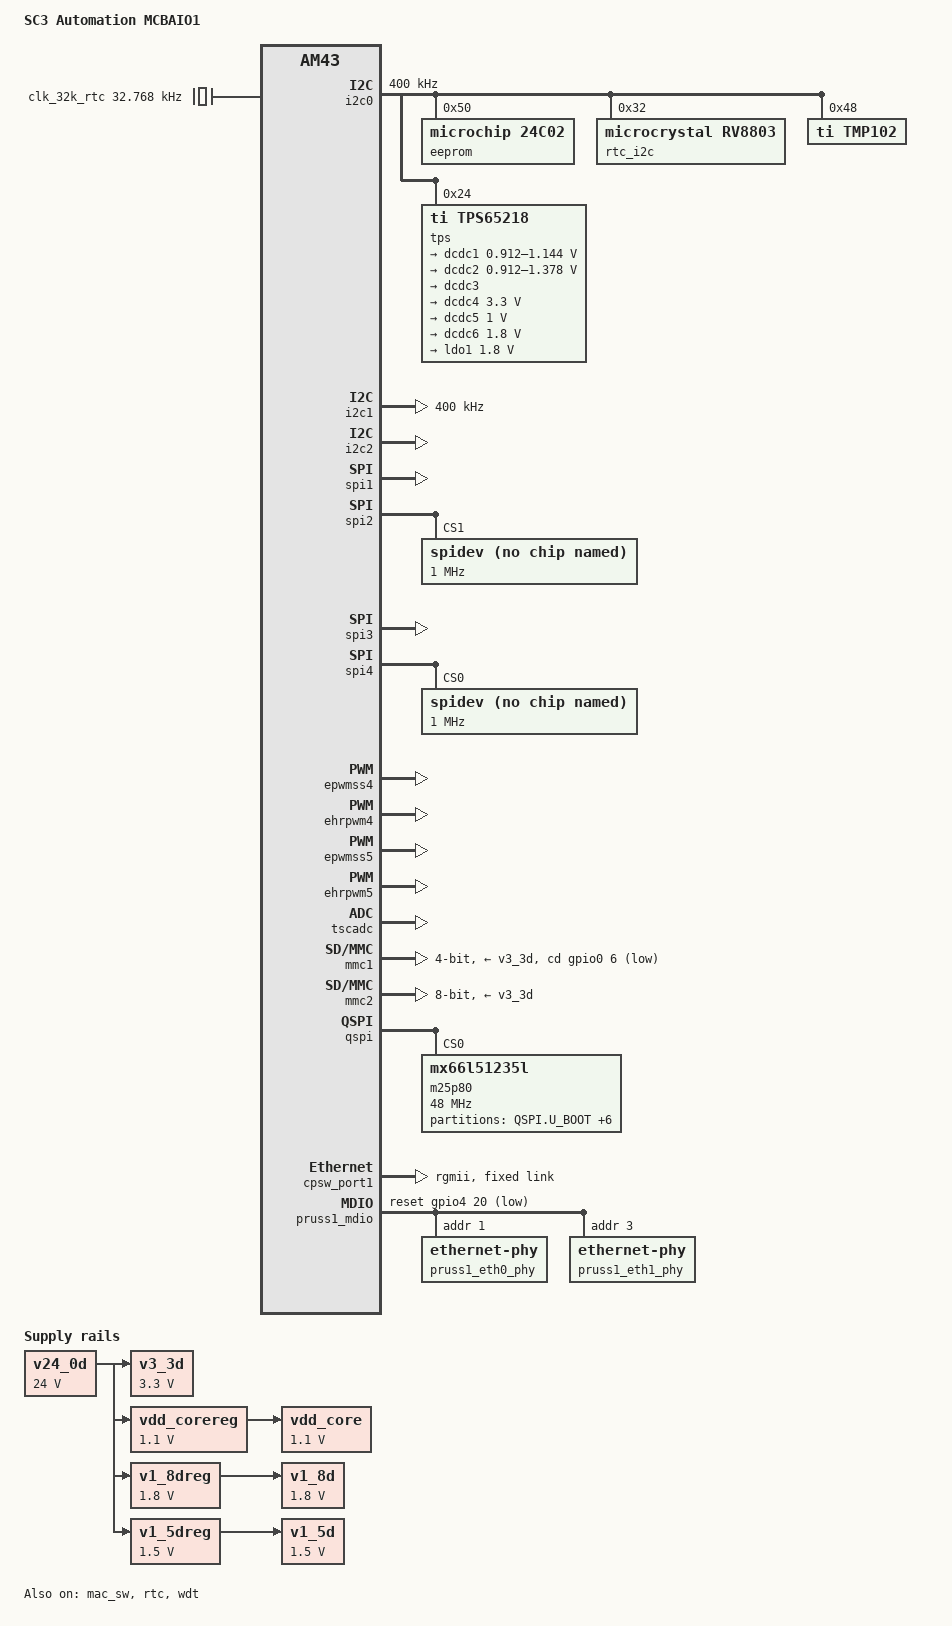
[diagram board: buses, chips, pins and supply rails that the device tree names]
// SPDX-License-Identifier: GPL-2.0-only
/*
 * Copyright (C) 2014 Texas Instruments Incorporated - https://www.ti.com/
 */

/dts-v1/;

#include "am4372.dtsi"
#include <dt-bindings/pinctrl/am43xx.h>
#include <dt-bindings/pwm/pwm.h>
#include <dt-bindings/gpio/gpio.h>
#include <dt-bindings/input/input.h>

/ {
	model = "SC3 Automation MCBAIO1";
	compatible = "ti,am437x-idk-evm","ti,am4372","ti,am43";

	chosen {
		stdout-path = &uart0;
	};

	aliases {
		ethernet2 = &pruss1_emac0;
		ethernet3 = &pruss1_emac1;
		rtc1 = &rtc_i2c;
	};

	v24_0d: fixed-regulator-v24_0d {
		compatible = "regulator-fixed";
		regulator-name = "V24_0D";
		regulator-min-microvolt = <24000000>;
		regulator-max-microvolt = <24000000>;
		regulator-always-on;
		regulator-boot-on;
	};

	v3_3d: fixed-regulator-v3_3d {
		compatible = "regulator-fixed";
		regulator-name = "V3_3D";
		regulator-min-microvolt = <3300000>;
		regulator-max-microvolt = <3300000>;
		regulator-always-on;
		regulator-boot-on;
		vin-supply = <&v24_0d>;
	};

	vdd_corereg: fixed-regulator-vdd_corereg {
		compatible = "regulator-fixed";
		regulator-name = "VDD_COREREG";
		regulator-min-microvolt = <1100000>;
		regulator-max-microvolt = <1100000>;
		regulator-always-on;
		regulator-boot-on;
		vin-supply = <&v24_0d>;
	};

	vdd_core: fixed-regulator-vdd_core {
		compatible = "regulator-fixed";
		regulator-name = "VDD_CORE";
		regulator-min-microvolt = <1100000>;
		regulator-max-microvolt = <1100000>;
		regulator-always-on;
		regulator-boot-on;
		vin-supply = <&vdd_corereg>;
	};

	v1_8dreg: fixed-regulator-v1_8dreg{
		compatible = "regulator-fixed";
		regulator-name = "V1_8DREG";
		regulator-min-microvolt = <1800000>;
		regulator-max-microvolt = <1800000>;
		regulator-always-on;
		regulator-boot-on;
		vin-supply = <&v24_0d>;
	};

	v1_8d: fixed-regulator-v1_8d{
		compatible = "regulator-fixed";
		regulator-name = "V1_8D";
		regulator-min-microvolt = <1800000>;
		regulator-max-microvolt = <1800000>;
		regulator-always-on;
		regulator-boot-on;
		vin-supply = <&v1_8dreg>;
	};

	v1_5dreg: fixed-regulator-v1_5dreg{
		compatible = "regulator-fixed";
		regulator-name = "V1_5DREG";
		regulator-min-microvolt = <1500000>;
		regulator-max-microvolt = <1500000>;
		regulator-always-on;
		regulator-boot-on;
		vin-supply = <&v24_0d>;
	};

	v1_5d: fixed-regulator-v1_5d{
		compatible = "regulator-fixed";
		regulator-name = "V1_5D";
		regulator-min-microvolt = <1500000>;
		regulator-max-microvolt = <1500000>;
		regulator-always-on;
		regulator-boot-on;
		vin-supply = <&v1_5dreg>;
	};

	/* fixed 32k external oscillator clock */
	clk_32k_rtc: clk_32k_rtc {
		#clock-cells = <0>;
		compatible = "fixed-clock";
		clock-frequency = <32768>;
	};

	/* Dual-MAC Ethernet application node on PRU-ICSS1 */
	pruss1-eth {
		compatible = "ti,am4376-prueth";
		ti,prus = <&pru1_0>, <&pru1_1>;
		sram = <&ocmcram>;
		interrupt-parent = <&pruss1_intc>;
		mii-rt = <&pruss1_mii_rt>;
		iep = <&pruss1_iep>;

		pinctrl-0 = <&pruss1_eth_default>;
		pinctrl-names = "default";
		interrupts = <20 2 2>, <21 3 3>;
		interrupt-names = "rx_lre_hp", "rx_lre_lp";

		pruss1_emac0: ethernet-mii0 {
			phy-handle = <&pruss1_eth0_phy>;
			phy-mode = "mii";
			interrupts = <20 2 2>;
			interrupt-names = "rx";
			ti,no-half-duplex;
			/* Filled in by bootloader */
			local-mac-address = [00 00 00 00 00 00];
		};

		pruss1_emac1: ethernet-mii1 {
			phy-handle = <&pruss1_eth1_phy>;
			phy-mode = "mii";
			interrupts = <21 3 3>;
			interrupt-names = "rx";
			ti,no-half-duplex;
			/* Filled in by bootloader */
			local-mac-address = [00 00 00 00 00 00];
		};
	};
};

&am43xx_pinmux {
	i2c0_pins_default: i2c0_pins_default {
		pinctrl-single,pins = <
			AM4372_IOPAD(0x988, PIN_INPUT_PULLUP | SLEWCTRL_FAST | MUX_MODE0) /* (Y22) i2c0_sda.i2c0_sda */
			AM4372_IOPAD(0x98c, PIN_INPUT_PULLUP | SLEWCTRL_FAST | MUX_MODE0) /* (AB24) i2c0_scl.i2c0_scl */
		>;
	};

	i2c1_pins_default: i2c1_pins_default {
		pinctrl-single,pins = <
			AM4372_IOPAD(0xa0c, PIN_INPUT_PULLUP | MUX_MODE3) /* (AB18) cam0_data1.I2C1_SCL */
			AM4372_IOPAD(0xa08, PIN_INPUT_PULLUP | MUX_MODE3) /* (AE18) cam0_data0.I2C1_SDA */
		>;
	};

//	i2c2_pins_default: i2c2_pins_default {
//		pinctrl-single,pins = <
//			AM4372_IOPAD(0x9e8, PIN_INPUT_PULLUP | SLEWCTRL_FAST | MUX_MODE3) /* cam1_data1.i2c2_scl */
//			AM4372_IOPAD(0x9ec, PIN_INPUT_PULLUP | SLEWCTRL_FAST | MUX_MODE3) /* cam1_data0.i2c2_sda */
//		>;
//	};
//
//	i2c2_pins_sleep: i2c2_pins_sleep {
//		pinctrl-single,pins = <
//			AM4372_IOPAD(0x9e8, PIN_INPUT_PULLUP | MUX_MODE7)
//			AM4372_IOPAD(0x9ec, PIN_INPUT_PULLUP | MUX_MODE7)
//		>;
//	};

	mmc0_pins_default: pinmux_mmc0_pins_default {
		pinctrl-single,pins = <
			AM4372_IOPAD(0x900, PIN_INPUT | MUX_MODE0) /* (D1) mmc0_clk.mmc0_clk */
			AM4372_IOPAD(0x904, PIN_INPUT_PULLUP | MUX_MODE0) /* (D2) mmc0_cmd.mmc0_cmd */
			AM4372_IOPAD(0x8fc, PIN_INPUT_PULLUP | MUX_MODE0) /* (C1) mmc0_dat0.mmc0_dat0 */
			AM4372_IOPAD(0x8f8, PIN_INPUT_PULLUP | MUX_MODE0) /* (C2) mmc0_dat1.mmc0_dat1 */
			AM4372_IOPAD(0x8f4, PIN_INPUT_PULLUP | MUX_MODE0) /* (B2) mmc0_dat2.mmc0_dat2 */
			AM4372_IOPAD(0x8f0, PIN_INPUT_PULLUP | MUX_MODE0) /* (B1) mmc0_dat3.mmc0_dat3 */
			AM4372_IOPAD(0x960, PIN_INPUT_PULLUP | MUX_MODE5) /* (R25) spi0_cs1.mmc0_sdcd */
		>;
	};

	mmc0_pins_sleep: pinmux_mmc0_pins_sleep {
		pinctrl-single,pins = <
			AM4372_IOPAD(0x900, PIN_INPUT_PULLDOWN | MUX_MODE7) /* (D1) mmc0_clk.mmc0_clk */
			AM4372_IOPAD(0x904, PIN_INPUT_PULLDOWN | MUX_MODE7) /* (D2) mmc0_cmd.mmc0_cmd */
			AM4372_IOPAD(0x8fc, PIN_INPUT_PULLDOWN | MUX_MODE7) /* (C1) mmc0_dat0.mmc0_dat0 */
			AM4372_IOPAD(0x8f8, PIN_INPUT_PULLDOWN | MUX_MODE7) /* (C2) mmc0_dat1.mmc0_dat1 */
			AM4372_IOPAD(0x8f4, PIN_INPUT_PULLDOWN | MUX_MODE7) /* (B2) mmc0_dat2.mmc0_dat2 */
			AM4372_IOPAD(0x8f0, PIN_INPUT_PULLDOWN | MUX_MODE7) /* (B1) mmc0_dat3.mmc0_dat3 */
			AM4372_IOPAD(0x960, PIN_INPUT_PULLDOWN | MUX_MODE7) /* (R25) spi0_cs1.mmc0_sdcd */
		>;
	};

	mmc1_pins_default: mmc1_pins_default {
		pinctrl-single,pins = <
			AM4372_IOPAD(0x880, PIN_INPUT | MUX_MODE2) /* (B9) gpmc_csn1.mmc1_clk */
			AM4372_IOPAD(0x884, PIN_INPUT_PULLUP | MUX_MODE2) /* (F10) gpmc_csn2.mmc1_cmd */
			AM4372_IOPAD(0x820, PIN_INPUT_PULLUP | MUX_MODE2) /* (B10) gpmc_ad8.mmc1_dat0 */
			AM4372_IOPAD(0x824, PIN_INPUT_PULLUP | MUX_MODE2) /* (A10) gpmc_ad9.mmc1_dat1 */
			AM4372_IOPAD(0x828, PIN_INPUT_PULLUP | MUX_MODE2) /* (F11) gpmc_ad10.mmc1_dat2 */
			AM4372_IOPAD(0x82c, PIN_INPUT_PULLUP | MUX_MODE2) /* (D11) gpmc_ad11.mmc1_dat3 */
			AM4372_IOPAD(0x830, PIN_INPUT_PULLUP | MUX_MODE2) /* (E11) gpmc_ad12.mmc1_dat4 */
			AM4372_IOPAD(0x834, PIN_INPUT_PULLUP | MUX_MODE2) /* (C11) gpmc_ad13.mmc1_dat5 */
			AM4372_IOPAD(0x838, PIN_INPUT_PULLUP | MUX_MODE2) /* (B11) gpmc_ad14.mmc1_dat6 */
			AM4372_IOPAD(0x83c, PIN_INPUT_PULLUP | MUX_MODE2) /* (A11) gpmc_ad15.mmc1_dat7 */
		>;
	};

	mmc1_pins_sleep: mmc1_pins_sleep {
		pinctrl-single,pins = <
			AM4372_IOPAD(0x880, PIN_INPUT_PULLDOWN | MUX_MODE7) /* (B9) gpmc_csn1.mmc1_clk */
			AM4372_IOPAD(0x884, PIN_INPUT_PULLDOWN | MUX_MODE7) /* (F10) gpmc_csn2.mmc1_cmd */
			AM4372_IOPAD(0x820, PIN_INPUT_PULLDOWN | MUX_MODE7) /* (B10) gpmc_ad8.mmc1_dat0 */
			AM4372_IOPAD(0x824, PIN_INPUT_PULLDOWN | MUX_MODE7) /* (A10) gpmc_ad9.mmc1_dat1 */
			AM4372_IOPAD(0x828, PIN_INPUT_PULLDOWN | MUX_MODE7) /* (F11) gpmc_ad10.mmc1_dat2 */
			AM4372_IOPAD(0x82c, PIN_INPUT_PULLDOWN | MUX_MODE7) /* (D11) gpmc_ad11.mmc1_dat3 */
			AM4372_IOPAD(0x830, PIN_INPUT_PULLDOWN | MUX_MODE7) /* (E11) gpmc_ad12.mmc1_dat4 */
			AM4372_IOPAD(0x834, PIN_INPUT_PULLDOWN | MUX_MODE7) /* (C11) gpmc_ad13.mmc1_dat5 */
			AM4372_IOPAD(0x838, PIN_INPUT_PULLDOWN | MUX_MODE7) /* (B11) gpmc_ad14.mmc1_dat6 */
			AM4372_IOPAD(0x83c, PIN_INPUT_PULLDOWN | MUX_MODE7) /* (A11) gpmc_ad15.mmc1_dat7 */
		>;
	};

	spi1_pins_default: spi1_pins_default {
		pinctrl-single,pins = <
			AM4372_IOPAD(0x908, PIN_INPUT | MUX_MODE2)	/* mii1_col.spi1_sclk */
			AM4372_IOPAD(0x910, PIN_INPUT | MUX_MODE2)	/* mii1_rx_er.spi1_d1 */
			AM4372_IOPAD(0x944, PIN_OUTPUT | MUX_MODE2)	/* rmii1_ref_clk.spi1_cs0 */
			AM4372_IOPAD(0x90c, PIN_OUTPUT | MUX_MODE7)	/* mii1_crs.gpio3_1 */
		>;
	};

	spi1_pins_sleep: spi1_pins_sleep {
		pinctrl-single,pins = <
			AM4372_IOPAD(0x908, PIN_INPUT_PULLDOWN | MUX_MODE7)
			AM4372_IOPAD(0x910, PIN_INPUT_PULLDOWN | MUX_MODE7)
			AM4372_IOPAD(0x944, PIN_INPUT_PULLDOWN | MUX_MODE7)
			AM4372_IOPAD(0x90c, PIN_INPUT_PULLDOWN | MUX_MODE7)
		>;
	};

	cpsw_default: cpsw_default {
		pinctrl-single,pins = <
			/* Slave 1 */
			AM4372_IOPAD(0x92c, PIN_OUTPUT | MUX_MODE2)	/* mii1_txclk.rgmii1_tclk */
			AM4372_IOPAD(0x914, PIN_OUTPUT | MUX_MODE2)	/* mii1_txen.rgmii1_tctl */
			AM4372_IOPAD(0x928, PIN_OUTPUT | MUX_MODE2)	/* mii1_txd0.rgmii1_td0 */
			AM4372_IOPAD(0x924, PIN_OUTPUT | MUX_MODE2)	/* mii1_txd1.rgmii1_td1 */
			AM4372_IOPAD(0x920, PIN_OUTPUT | MUX_MODE2)	/* mii1_txd0.rgmii1_td2 */
			AM4372_IOPAD(0x91c, PIN_OUTPUT | MUX_MODE2)	/* mii1_txd1.rgmii1_td3 */
			AM4372_IOPAD(0x930, PIN_INPUT | MUX_MODE2)	/* mii1_rxclk.rmii1_rclk */
			AM4372_IOPAD(0x918, PIN_INPUT | MUX_MODE2)	/* mii1_rxdv.rgmii1_rctl */
			AM4372_IOPAD(0x940, PIN_INPUT | MUX_MODE2)	/* mii1_rxd0.rgmii1_rd0 */
			AM4372_IOPAD(0x93c, PIN_INPUT | MUX_MODE2)	/* mii1_rxd1.rgmii1_rd1 */
			AM4372_IOPAD(0x938, PIN_INPUT | MUX_MODE2)	/* mii1_rxd0.rgmii1_rd2 */
			AM4372_IOPAD(0x934, PIN_INPUT | MUX_MODE2)	/* mii1_rxd1.rgmii1_rd3 */

			/* Slave 2 */
			AM4372_IOPAD(0x858, PIN_OUTPUT | MUX_MODE2)	/* gpmc_a6.rgmii2_tclk */
			AM4372_IOPAD(0x840, PIN_OUTPUT | MUX_MODE2)	/* gpmc_a0.rgmii2_tctl */
			AM4372_IOPAD(0x854, PIN_OUTPUT | MUX_MODE2)	/* gpmc_a5.rgmii2_td0 */
			AM4372_IOPAD(0x850, PIN_OUTPUT | MUX_MODE2)	/* gpmc_a4.rgmii2_td1 */
			AM4372_IOPAD(0x84c, PIN_OUTPUT | MUX_MODE2)	/* gpmc_a3.rgmii2_td2 */
			AM4372_IOPAD(0x848, PIN_OUTPUT | MUX_MODE2)	/* gpmc_a2.rgmii2_td3 */
			AM4372_IOPAD(0x85c, PIN_INPUT | MUX_MODE2)	/* gpmc_a7.rgmii2_rclk */
			AM4372_IOPAD(0x844, PIN_INPUT | MUX_MODE2)	/* gpmc_a1.rgmii2_rtcl */
			AM4372_IOPAD(0x86c, PIN_INPUT | MUX_MODE2)	/* gpmc_a11.rgmii2_rd0 */
			AM4372_IOPAD(0x868, PIN_INPUT | MUX_MODE2)	/* gpmc_a10.rgmii2_rd1 */
			AM4372_IOPAD(0x864, PIN_INPUT | MUX_MODE2)	/* gpmc_a9.rgmii2_rd2 */
			AM4372_IOPAD(0x860, PIN_INPUT | MUX_MODE2)	/* gpmc_a8.rgmii2_rd3 */
		>;
	};

	cpsw_sleep: cpsw_sleep {
		pinctrl-single,pins = <
			/* Slave 1 reset value */
			AM4372_IOPAD(0x92c, PIN_INPUT_PULLDOWN | MUX_MODE7)
			AM4372_IOPAD(0x914, PIN_INPUT_PULLDOWN | MUX_MODE7)
			AM4372_IOPAD(0x928, PIN_INPUT_PULLDOWN | MUX_MODE7)
			AM4372_IOPAD(0x924, PIN_INPUT_PULLDOWN | MUX_MODE7)
			AM4372_IOPAD(0x920, PIN_INPUT_PULLDOWN | MUX_MODE7)
			AM4372_IOPAD(0x91c, PIN_INPUT_PULLDOWN | MUX_MODE7)
			AM4372_IOPAD(0x930, PIN_INPUT_PULLDOWN | MUX_MODE7)
			AM4372_IOPAD(0x918, PIN_INPUT_PULLDOWN | MUX_MODE7)
			AM4372_IOPAD(0x940, PIN_INPUT_PULLDOWN | MUX_MODE7)
			AM4372_IOPAD(0x93c, PIN_INPUT_PULLDOWN | MUX_MODE7)
			AM4372_IOPAD(0x938, PIN_INPUT_PULLDOWN | MUX_MODE7)
			AM4372_IOPAD(0x934, PIN_INPUT_PULLDOWN | MUX_MODE7)

			/* Slave 2 reset value */
			AM4372_IOPAD(0x858, PIN_INPUT_PULLDOWN | MUX_MODE7)
			AM4372_IOPAD(0x840, PIN_INPUT_PULLDOWN | MUX_MODE7)
			AM4372_IOPAD(0x854, PIN_INPUT_PULLDOWN | MUX_MODE7)
			AM4372_IOPAD(0x850, PIN_INPUT_PULLDOWN | MUX_MODE7)
			AM4372_IOPAD(0x84c, PIN_INPUT_PULLDOWN | MUX_MODE7)
			AM4372_IOPAD(0x848, PIN_INPUT_PULLDOWN | MUX_MODE7)
			AM4372_IOPAD(0x85c, PIN_INPUT_PULLDOWN | MUX_MODE7)
			AM4372_IOPAD(0x844, PIN_INPUT_PULLDOWN | MUX_MODE7)
			AM4372_IOPAD(0x86c, PIN_INPUT_PULLDOWN | MUX_MODE7)
			AM4372_IOPAD(0x868, PIN_INPUT_PULLDOWN | MUX_MODE7)
			AM4372_IOPAD(0x864, PIN_INPUT_PULLDOWN | MUX_MODE7)
			AM4372_IOPAD(0x860, PIN_INPUT_PULLDOWN | MUX_MODE7)
		>;
	};

	davinci_mdio_default: davinci_mdio_default {
		pinctrl-single,pins = <
			/* MDIO */
			AM4372_IOPAD(0x948, PIN_INPUT | SLEWCTRL_FAST | MUX_MODE0)	/* mdio_data.mdio_data */
			AM4372_IOPAD(0x94c, PIN_OUTPUT | MUX_MODE0)			/* mdio_clk.mdio_clk */
		>;
	};

	davinci_mdio_sleep: davinci_mdio_sleep {
		pinctrl-single,pins = <
			/* MDIO reset value */
			AM4372_IOPAD(0x948, PIN_INPUT_PULLDOWN | MUX_MODE7)
			AM4372_IOPAD(0x94c, PIN_INPUT_PULLDOWN | MUX_MODE7)
		>;
	};

	spi2_pins_default: spi2_pins_default {
		pinctrl-single,pins = <
			AM4372_IOPAD(0x9b8, PIN_INPUT | MUX_MODE4) /* (AC18) cam0_field.spi2_sclk */
			AM4372_IOPAD(0x9bc, PIN_OUTPUT | MUX_MODE4) /* (AD17) cam0_wen.spi2_d0 */
			AM4372_IOPAD(0x9b4, PIN_INPUT_PULLUP | MUX_MODE4) /* (AD18) cam0_vd.spi2_d1 */
			AM4372_IOPAD(0x9c0, PIN_OUTPUT | MUX_MODE4) /* (AC20) cam0_pclk.spi2_cs0 */
			AM4372_IOPAD(0x9b0, PIN_OUTPUT | MUX_MODE4) /* (AE17) cam0_hd.spi2_cs1 */
			AM4372_IOPAD(0x9c4, PIN_OUTPUT | MUX_MODE4) /* (AB19) cam0_data8.spi2_cs2 */
			AM4372_IOPAD(0x9c8, PIN_OUTPUT | MUX_MODE4) /* (AA19) cam0_data9.spi2_cs3 */
		>;
	};

	spi4_pins_default: spi4_pins_default {
		pinctrl-single,pins = <
			AM4372_IOPAD(0xa50, PIN_INPUT | MUX_MODE0) /* (P25) spi4_sclk.spi4_sclk */
			AM4372_IOPAD(0xa54, PIN_OUTPUT | MUX_MODE0) /* (R24) spi4_d0.spi4_d0 */
			AM4372_IOPAD(0xa58, PIN_INPUT_PULLUP | MUX_MODE0) /* (P24) spi4_d1.spi4_d1 */
			AM4372_IOPAD(0xa5c, PIN_OUTPUT | MUX_MODE0) /* (N25) spi4_cs0.spi4_cs0 */
		>;
	};

	pruss1_mdio_default: pruss1-mdio-default {
		pinctrl-single,pins = <
			AM4372_IOPAD(0x88c, (PIN_OUTPUT | MUX_MODE5))		/* gpmc_clk.pr1_mdio_mdclk */
			AM4372_IOPAD(0xa70, (PIN_INPUT_PULLUP  | MUX_MODE8))		/* xdma_event_intr0.pr1_mdio_data */
			AM4372_IOPAD(0xa00, (PIN_INPUT_PULLUP | MUX_MODE7))	/* cam1_data6.gpio4_20 */
		>;
	};

	pruss1_eth_default: pruss1-eth-default {
		pinctrl-single,pins = <
			AM4372_IOPAD(0x8a0, (PIN_INPUT  | MUX_MODE2))	/* dss_data0.pr1_mii_mt0_clk */
			AM4372_IOPAD(0x8b4, (PIN_OUTPUT | MUX_MODE2))	/* dss_data5.pr1_mii0_txd0 */
			AM4372_IOPAD(0x8b0, (PIN_OUTPUT | MUX_MODE2))	/* dss_data4.pr1_mii0_txd1 */
			AM4372_IOPAD(0x8ac, (PIN_OUTPUT | MUX_MODE2))	/* dss_data3.pr1_mii0_txd2 */
			AM4372_IOPAD(0x8a8, (PIN_OUTPUT | MUX_MODE2))	/* dss_data2.pr1_mii0_txd3 */
			AM4372_IOPAD(0x8cc, (PIN_INPUT  | MUX_MODE5))	/* dss_data11.pr1_mii0_rxd0 */
			AM4372_IOPAD(0x8c8, (PIN_INPUT  | MUX_MODE5))	/* dss_data10.pr1_mii0_rxd1 */
			AM4372_IOPAD(0x8c4, (PIN_INPUT  | MUX_MODE5))	/* dss_data9.pr1_mii0_rxd2 */
			AM4372_IOPAD(0x8c0, (PIN_INPUT  | MUX_MODE5))	/* dss_data8.pr1_mii0_rxd3 */
			AM4372_IOPAD(0x8a4, (PIN_OUTPUT | MUX_MODE2))	/* dss_data1.pr1_mii0_txen */
			AM4372_IOPAD(0x8d8, (PIN_INPUT  | MUX_MODE5))	/* dss_data14.pr1_mii_mr0_clk */
			AM4372_IOPAD(0x8dc, (PIN_INPUT  | MUX_MODE5))	/* dss_data15.pr1_mii0_rxdv */
			AM4372_IOPAD(0x8d4, (PIN_INPUT  | MUX_MODE5))	/* dss_data13.pr1_mii0_rxer */
			AM4372_IOPAD(0x8d0, (PIN_INPUT  | MUX_MODE5))	/* dss_data12.pr1_mii0_rxlink */
			AM4372_IOPAD(0xa40, (PIN_INPUT  | MUX_MODE5))	/* gpio5_10.pr1_mii0_crs */
			AM4372_IOPAD(0xa38, (PIN_INPUT  | MUX_MODE5))	/* gpio5_8.pr1_mii0_col */
			AM4372_IOPAD(0x858, (PIN_INPUT  | MUX_MODE5))	/* gpmc_a6.pr1_mii_mt1_clk */
			AM4372_IOPAD(0x854, (PIN_OUTPUT | MUX_MODE5))	/* gpmc_a5.pr1_mii1_txd0 */
			AM4372_IOPAD(0x850, (PIN_OUTPUT | MUX_MODE5))	/* gpmc_a4.pr1_mii1_txd1 */
			AM4372_IOPAD(0x84c, (PIN_OUTPUT | MUX_MODE5))	/* gpmc_a3.pr1_mii1_txd2 */
			AM4372_IOPAD(0x848, (PIN_OUTPUT | MUX_MODE5))	/* gpmc_a2.pr1_mii1_txd3 */
			AM4372_IOPAD(0x86c, (PIN_INPUT  | MUX_MODE5))	/* gpmc_a11.pr1_mii1_rxd0 */
			AM4372_IOPAD(0x868, (PIN_INPUT  | MUX_MODE5))	/* gpmc_a10.pr1_mii1_rxd1 */
			AM4372_IOPAD(0x864, (PIN_INPUT  | MUX_MODE5))	/* gpmc_a9.pr1_mii1_rxd2 */
			AM4372_IOPAD(0x860, (PIN_INPUT  | MUX_MODE5))	/* gpmc_a8.pr1_mii1_rxd3 */
			AM4372_IOPAD(0x840, (PIN_OUTPUT | MUX_MODE5))	/* gpmc_a0.pr1_mii1_txen */
			AM4372_IOPAD(0x85c, (PIN_INPUT  | MUX_MODE5))	/* gpmc_a7.pr1_mii_mr1_clk */
			AM4372_IOPAD(0x844, (PIN_INPUT  | MUX_MODE5))	/* gpmc_a1.pr1_mii1_rxdv */
			AM4372_IOPAD(0x874, (PIN_INPUT  | MUX_MODE5))	/* gpmc_wpn.pr1_mii1_rxer */
			AM4372_IOPAD(0xa4c, (PIN_INPUT  | MUX_MODE5))	/* gpio5_13.pr1_mii1_rxlink */
			AM4372_IOPAD(0xa44, (PIN_INPUT  | MUX_MODE5))	/* gpio5_11.pr1_mii1_crs */
			AM4372_IOPAD(0x878, (PIN_INPUT  | MUX_MODE5))	/* gpmc_be1n.pr1_mii1_col */
		>;
	};

	qspi_pins_default: qspi_pins_default {
		pinctrl-single,pins = <
			AM4372_IOPAD(0x87c, PIN_OUTPUT_PULLUP | MUX_MODE3)	/* gpmc_csn0.qspi_csn */
			AM4372_IOPAD(0x888, PIN_OUTPUT | MUX_MODE2)		/* gpmc_csn3.qspi_clk */
			AM4372_IOPAD(0x890, PIN_INPUT_PULLUP | MUX_MODE3)	/* gpmc_advn_ale.qspi_d0 */
			AM4372_IOPAD(0x894, PIN_INPUT_PULLUP | MUX_MODE3)	/* gpmc_oen_ren.qspi_d1 */
			AM4372_IOPAD(0x898, PIN_INPUT_PULLUP | MUX_MODE3)	/* gpmc_wen.qspi_d2 */
			AM4372_IOPAD(0x89c, PIN_INPUT_PULLUP | MUX_MODE3)	/* gpmc_be0n_cle.qspi_d3 */
		>;
	};

	qspi_pins_sleep: qspi_pins_sleep{
		pinctrl-single,pins = <
			AM4372_IOPAD(0x87c, PIN_INPUT_PULLDOWN | MUX_MODE7)
			AM4372_IOPAD(0x888, PIN_INPUT_PULLDOWN | MUX_MODE7)
			AM4372_IOPAD(0x890, PIN_INPUT_PULLDOWN | MUX_MODE7)
			AM4372_IOPAD(0x894, PIN_INPUT_PULLDOWN | MUX_MODE7)
			AM4372_IOPAD(0x898, PIN_INPUT_PULLDOWN | MUX_MODE7)
			AM4372_IOPAD(0x89c, PIN_INPUT_PULLDOWN | MUX_MODE7)
		>;
	};

	ehrpwm_4_pins_default: ehrpwm_4_pins_default {
		pinctrl-single,pins = <
			AM4372_IOPAD(0xa28, PIN_OUTPUT | MUX_MODE6) /* (H25) uart3_rxd.ehrpwm4A */
		>;
	};

	ehrpwm_5_pins_default: ehrpwm_5_pins_default {
		pinctrl-single,pins = <
			AM4372_IOPAD(0xa30, PIN_OUTPUT | MUX_MODE6) /* (H22) uart3_ctsn.ehrpwm5A */
		>;
	};
};

&i2c0 {
	status = "okay";
	pinctrl-names = "default";
	pinctrl-0 = <&i2c0_pins_default>;
	clock-frequency = <400000>;

	eeprom@50 {
		compatible = "microchip,24c02";
		pagesize = <16>;
		reg = <0x50>;
	};

	rtc_i2c: rtc@32 {
		compatible = "microcrystal,rv8803";
		reg = <0x32>;
	};

	tmp102: tmp102@48 {
		compatible = "ti,tmp102";
		reg = <0x48>;

		#thermal-sensor-cells = <0>;
	};

	tps: tps65218@24 {
		compatible = "ti,tps65218";
		reg = <0x24>;
		interrupts = <GIC_SPI 7 IRQ_TYPE_LEVEL_HIGH>;
		interrupt-controller;
		#interrupt-cells = <2>;

		dcdc1: regulator-dcdc1 {
			/* VDD_CORE limits min of OPP50 and max of OPP100 */
			regulator-name = "vdd_core";
			regulator-min-microvolt = <912000>;
			regulator-max-microvolt = <1144000>;
			regulator-boot-on;
			regulator-always-on;
		};

		dcdc2: regulator-dcdc2 {
			/* VDD_MPU limits min of OPP50 and max of OPP_NITRO */
			regulator-name = "vdd_mpu";
			regulator-min-microvolt = <912000>;
			regulator-max-microvolt = <1378000>;
			regulator-boot-on;
			regulator-always-on;
		};

		dcdc3: regulator-dcdc3 {
			regulator-name = "vdds_ddr";
			regulator-boot-on;
			regulator-always-on;
			regulator-state-mem {
				regulator-on-in-suspend;
			};
			regulator-state-disk {
				regulator-off-in-suspend;
			};
		};

		dcdc4: regulator-dcdc4 {
			regulator-name = "v3_3d";
			regulator-min-microvolt = <3300000>;
			regulator-max-microvolt = <3300000>;
			regulator-boot-on;
			regulator-always-on;
		};

		dcdc5: regulator-dcdc5 {
			compatible = "ti,tps65218-dcdc5";
			regulator-name = "v1_0bat";
			regulator-min-microvolt = <1000000>;
			regulator-max-microvolt = <1000000>;
			regulator-boot-on;
			regulator-always-on;
			regulator-state-mem {
				regulator-on-in-suspend;
			};
		};

		dcdc6: regulator-dcdc6 {
			compatible = "ti,tps65218-dcdc6";
			regulator-name = "v1_8bat";
			regulator-min-microvolt = <1800000>;
			regulator-max-microvolt = <1800000>;
			regulator-boot-on;
			regulator-always-on;
			regulator-state-mem {
				regulator-on-in-suspend;
			};
		};

		ldo1: regulator-ldo1 {
			regulator-name = "v1_8d";
			regulator-min-microvolt = <1800000>;
			regulator-max-microvolt = <1800000>;
			regulator-boot-on;
			regulator-always-on;
		};

		power-button {
			compatible = "ti,tps65218-pwrbutton";
			status = "okay";
			interrupts = <3 IRQ_TYPE_EDGE_BOTH>;
		};
	};
};

&i2c1 {
	status = "okay";
	pinctrl-names = "default";
	pinctrl-0 = <&i2c1_pins_default>;
	clock-frequency = <400000>;
};

&i2c2 {
	status = "okay";
//	pinctrl-names = "default", "sleep";
//	pinctrl-0 = <&i2c2_pins_default>;
//	pinctrl-1 = <&i2c2_pins_sleep>;
//	clock-frequency = <100000>;
//
//	tpic2810: tpic2810@60 {
//		compatible = "ti,tpic2810";
//		reg = <0x60>;
//		gpio-controller;
//		#gpio-cells = <2>;
//	};
};

&spi1 {
	status = "okay";
	pinctrl-names = "default", "sleep";
	pinctrl-0 = <&spi1_pins_default>;
	pinctrl-1 = <&spi1_pins_sleep>;
	ti,pindir-d0-out-d1-in;
};

&spi2 {
	status = "okay";
	pinctrl-names = "default";
	pinctrl-0 = <&spi2_pins_default>;
	ti,spi-num-cs = <4>;
	ti,pindir-d0-out-d1-in;

	spidev@1 {
		status = "okay";
		compatible = "linux,spidev";
		spi-max-frequency = <1000000>;
		reg = <1>;
	};
};

&spi3 {
	status = "okay";
};

&spi4 {
	status = "okay";
	pinctrl-names = "default";
	pinctrl-0 = <&spi4_pins_default>;
//	ti,spi-num-cs = <4>;
	ti,pindir-d0-out-d1-in;

	spidev@0 {
		status = "okay";
		compatible = "linux,spidev";
		spi-max-frequency = <1000000>;
		reg = <0>;
	};
};

&epwmss4 {
	status = "okay";
};

&ehrpwm4 {
	status = "okay";
	pinctrl-names = "default";
	pinctrl-0 = <&ehrpwm_4_pins_default>;
};

&epwmss5 {
	status = "okay";
};

&ehrpwm5 {
	status = "okay";
	pinctrl-names = "default";
	pinctrl-0 = <&ehrpwm_5_pins_default>;
};

&gpio0 {
	status = "okay";
	pinctrl-single,pins = <
		AM4372_IOPAD(0x948, PIN_OUTPUT | MUX_MODE7) /* (A17) mdio_data.gpio0[0] */
		AM4372_IOPAD(0x94c, PIN_OUTPUT | MUX_MODE7) /* (B17) mdio_clk.gpio0[1] */
		AM4372_IOPAD(0x950, PIN_INPUT_PULLUP | MUX_MODE7) /* (P23) spi0_sclk.gpio0[2] */
		AM4372_IOPAD(0x954, PIN_OUTPUT | MUX_MODE7) /* (T22) spi0_d0.gpio0[3] */
		AM4372_IOPAD(0x958, PIN_INPUT_PULLUP | MUX_MODE7) /* (T21) spi0_d1.gpio0[4] */
		AM4372_IOPAD(0x95c, PIN_OUTPUT | MUX_MODE7) /* (T20) spi0_cs0.gpio0[5] */
		AM4372_IOPAD(0x964, PIN_OUTPUT | MUX_MODE7) /* (G24) eCAP0_in_PWM0_out.gpio0[7] */
		AM4372_IOPAD(0x978, PIN_OUTPUT | MUX_MODE7) /* (K22) uart1_ctsn.gpio0[12] */
		AM4372_IOPAD(0x97c, PIN_OUTPUT | MUX_MODE7) /* (L22) uart1_rtsn.gpio0[13] */
		AM4372_IOPAD(0x980, PIN_OUTPUT | MUX_MODE7) /* (K21) uart1_rxd.gpio0[14] */
		AM4372_IOPAD(0x984, PIN_INPUT_PULLUP | MUX_MODE7) /* (L21) uart1_txd.gpio0[15] */
		AM4372_IOPAD(0xac0, PIN_OUTPUT | MUX_MODE7) /* (G21) USB0_DRVVBUS.gpio0[18] */
		AM4372_IOPAD(0xa78, PIN_OUTPUT | MUX_MODE7) /* (H20) clkreq.gpio0[24] */
		AM4372_IOPAD(0x944, PIN_INPUT_PULLUP | MUX_MODE7) /* (A16) rmii1_ref_clk.gpio0[29] */
	>;
};

&gpio1 {
	status = "okay";
	pinctrl-single,pins = <
		AM4372_IOPAD(0x800, PIN_OUTPUT | MUX_MODE7) /* (B5) gpmc_ad0.gpio1[0] */
		AM4372_IOPAD(0x804, PIN_OUTPUT | MUX_MODE7) /* (A5) gpmc_ad1.gpio1[1] */
		AM4372_IOPAD(0x808, PIN_OUTPUT | MUX_MODE7) /* (B6) gpmc_ad2.gpio1[2] */
		AM4372_IOPAD(0x80c, PIN_OUTPUT | MUX_MODE7) /* (A6) gpmc_ad3.gpio1[3] */
		AM4372_IOPAD(0x810, PIN_OUTPUT | MUX_MODE7) /* (B7) gpmc_ad4.gpio1[4] */
		AM4372_IOPAD(0x814, PIN_OUTPUT | MUX_MODE7) /* (A7) gpmc_ad5.gpio1[5] */
		AM4372_IOPAD(0x818, PIN_OUTPUT | MUX_MODE7) /* (C8) gpmc_ad6.gpio1[6] */
		AM4372_IOPAD(0x81c, PIN_OUTPUT | MUX_MODE7) /* (B8) gpmc_ad7.gpio1[7] */
		AM4372_IOPAD(0x968, PIN_OUTPUT | MUX_MODE7) /* (L25) uart0_ctsn.gpio1[8] */
		AM4372_IOPAD(0x96c, PIN_OUTPUT | MUX_MODE7) /* (J25) uart0_rtsn.gpio1[9] */
		AM4372_IOPAD(0x878, PIN_OUTPUT | MUX_MODE7) /* (A3) gpmc_be1n.gpio1[28] */
	>;
};

&gpio2 {
	status = "okay";
	pinctrl-single,pins = <
		AM4372_IOPAD(0x8b8, PIN_INPUT | MUX_MODE7) /* (C20) dss_data6.gpio2[12] */
		AM4372_IOPAD(0x8bc, PIN_INPUT | MUX_MODE7) /* (E19) dss_data7.gpio2[13] */
		AM4372_IOPAD(0x8e0, PIN_INPUT | MUX_MODE7) /* (B23) dss_vsync.gpio2[22] */
		AM4372_IOPAD(0x8e4, PIN_INPUT | MUX_MODE7) /* (A23) dss_hsync.gpio2[23] */
		AM4372_IOPAD(0x8e8, PIN_INPUT | MUX_MODE7) /* (A22) dss_pclk.gpio2[24] */
		AM4372_IOPAD(0x8ec, PIN_INPUT | MUX_MODE7) /* (A24) dss_ac_bias_en.gpio2[25] */
	>;	
};

&gpio3 {
	status = "okay";
	pinctrl-single,pins = <
		AM4372_IOPAD(0x908, PIN_OUTPUT | MUX_MODE7) /* (D16) mii1_col.gpio3[0] */
		AM4372_IOPAD(0x90c, PIN_OUTPUT | MUX_MODE7) /* (B14) mii1_crs.gpio3[1] */
		AM4372_IOPAD(0x910, PIN_OUTPUT | MUX_MODE7) /* (B13) mii1_rx_er.gpio3[2] */
		AM4372_IOPAD(0xac4, PIN_OUTPUT | MUX_MODE7) /* (F25) USB1_DRVVBUS.gpio3[13] */
		AM4372_IOPAD(0x990, PIN_INPUT_PULLUP | MUX_MODE7) /* (N24) mcasp0_aclkx.gpio3[14] */
		AM4372_IOPAD(0x994, PIN_INPUT_PULLUP | MUX_MODE7) /* (N22) mcasp0_fsx.gpio3[15] */
		AM4372_IOPAD(0x998, PIN_OUTPUT | MUX_MODE7) /* (H23) mcasp0_axr0.gpio3[16] */
		AM4372_IOPAD(0x99c, PIN_OUTPUT | MUX_MODE7) /* (M24) mcasp0_ahclkr.gpio3[17] */
		AM4372_IOPAD(0x9a0, PIN_OUTPUT | MUX_MODE7) /* (L23) mcasp0_aclkr.gpio3[18] */
		AM4372_IOPAD(0x9a4, PIN_OUTPUT | MUX_MODE7) /* (K23) mcasp0_fsr.gpio3[19] */
		AM4372_IOPAD(0x9a8, PIN_OUTPUT | MUX_MODE7) /* (M25) mcasp0_axr1.gpio3[20] */
		AM4372_IOPAD(0x9ac, PIN_OUTPUT | MUX_MODE7) /* (L24) mcasp0_ahclkx.gpio3[21] */
		AM4372_IOPAD(0xa64, PIN_OUTPUT | MUX_MODE7) /* (P22) spi2_d0.gpio3[22] */
		AM4372_IOPAD(0xa68, PIN_OUTPUT | MUX_MODE7) /* (P20) spi2_d1.gpio3[23] */
		AM4372_IOPAD(0xa60, PIN_OUTPUT | MUX_MODE7) /* (N20) spi2_sclk.gpio3[24] */
		AM4372_IOPAD(0xa6c, PIN_OUTPUT | MUX_MODE7) /* (T23) spi2_cs0.gpio3[25] */
	>;
};

&gpio4 {
	status = "okay";
	pinctrl-single,pins = <
		AM4372_IOPAD(0x9cc, PIN_INPUT_PULLDOWN | MUX_MODE7) /* (AC24) cam1_data9.gpio4[7] */
		AM4372_IOPAD(0x9d0, PIN_INPUT_PULLDOWN | MUX_MODE7) /* (AD24) cam1_data8.gpio4[8] */
		AM4372_IOPAD(0x9d4, PIN_INPUT_PULLDOWN | MUX_MODE7) /* (AD25) cam1_hd.gpio4[9] */
		AM4372_IOPAD(0x9d8, PIN_INPUT_PULLDOWN | MUX_MODE7) /* (AC23) cam1_vd.gpio4[10] */
		AM4372_IOPAD(0x9dc, PIN_INPUT_PULLDOWN | MUX_MODE7) /* (AE21) cam1_pclk.gpio4[11] */
		AM4372_IOPAD(0x9e0, PIN_INPUT_PULLDOWN | MUX_MODE7) /* (AC25) cam1_field.gpio4[12] */
		AM4372_IOPAD(0x9e4, PIN_INPUT_PULLDOWN | MUX_MODE7) /* (AB25) cam1_wen.gpio4[13] */
		AM4372_IOPAD(0x9e8, PIN_INPUT_PULLDOWN | MUX_MODE7) /* (AB20) cam1_data0.gpio4[14] */
		AM4372_IOPAD(0x9ec, PIN_INPUT_PULLDOWN | MUX_MODE7) /* (AC21) cam1_data1.gpio4[15] */
		AM4372_IOPAD(0x9f0, PIN_INPUT_PULLDOWN | MUX_MODE7) /* (AD21) cam1_data2.gpio4[16] */
		AM4372_IOPAD(0x9f4, PIN_INPUT_PULLDOWN | MUX_MODE7) /* (AE22) cam1_data3.gpio4[17] */
		AM4372_IOPAD(0x9f8, PIN_INPUT_PULLDOWN | MUX_MODE7) /* (AD22) cam1_data4.gpio4[18] */
		AM4372_IOPAD(0x9fc, PIN_INPUT_PULLDOWN | MUX_MODE7) /* (AE23) cam1_data5.gpio4[19] */
		// defined below AM4372_IOPAD(0xa00, PIN_OUTPUT | MUX_MODE7) /* (AD23) cam1_data6.gpio4[20] */
		AM4372_IOPAD(0xa04, PIN_INPUT_PULLDOWN | MUX_MODE7) /* (AE24) cam1_data7.gpio4[21] */
		AM4372_IOPAD(0xa10, PIN_INPUT_PULLDOWN | MUX_MODE7) /* (Y18) cam0_data2.gpio4[24] */
		AM4372_IOPAD(0xa14, PIN_INPUT_PULLDOWN | MUX_MODE7) /* (AA18) cam0_data3.gpio4[25] */
		AM4372_IOPAD(0xa18, PIN_OUTPUT | MUX_MODE7) /* (AE19) cam0_data4.gpio4[26] */
		AM4372_IOPAD(0xa1c, PIN_OUTPUT | MUX_MODE7) /* (AD19) cam0_data5.gpio4[27] */
		AM4372_IOPAD(0xa20, PIN_OUTPUT | MUX_MODE7) /* (AE20) cam0_data6.gpio4[28] */
		AM4372_IOPAD(0xa24, PIN_OUTPUT | MUX_MODE7) /* (AD20) cam0_data7.gpio4[29] */
	>;
};

&gpio5 {
	status = "okay";
	pinctrl-single,pins = <
		AM4372_IOPAD(0xa34, PIN_OUTPUT | MUX_MODE7) /* (K24) uart3_rtsn.gpio5[1] */
		AM4372_IOPAD(0xa2c, PIN_OUTPUT | MUX_MODE7) /* (H24) uart3_txd.gpio5[3] */
		// defined below AM4372_IOPAD(0xa38, PIN_OUTPUT | MUX_MODE7) /* (D25) gpio5_8.gpio5[8] */
		AM4372_IOPAD(0xa3c, PIN_INPUT_PULLUP | MUX_MODE7) /* (F24) gpio5_9.gpio5[9] */
		AM4372_IOPAD(0xa48, PIN_INPUT_PULLUP | MUX_MODE7) /* (E25) gpio5_12.gpio5[12] */
		AM4372_IOPAD(0xa74, PIN_INPUT_PULLUP | MUX_MODE9) /* (C24) xdma_event_intr1.gpio5[29] */
		AM4372_IOPAD(0x870, PIN_OUTPUT | MUX_MODE9) /* (A2) gpmc_wait0.gpio5[30] */
	>;
};

&tscadc {
	status = "okay";
	adc {
		ti,adc-channels = <0 1 2>;
	};
};

&mmc1 {
	status = "okay";
	pinctrl-names = "default", "sleep";
	pinctrl-0 = <&mmc0_pins_default>;
	pinctrl-1 = <&mmc0_pins_sleep>;
	vmmc-supply = <&v3_3d>;
	bus-width = <4>;
	cd-gpios = <&gpio0 6 GPIO_ACTIVE_LOW>;
};

&mmc2 {
	status = "okay";
	pinctrl-names = "default", "sleep";
	pinctrl-0 = <&mmc1_pins_default>;
	pinctrl-1 = <&mmc1_pins_sleep>;
	vmmc-supply = <&v3_3d>;
	bus-width = <8>;
	ti,non-removable;
	max-frequency = <96000000>;
	no-1-8-v;
	/delete-property/ mmc-hs200-1_8v;
};

&qspi {
	status = "okay";
	pinctrl-names = "default", "sleep";
	pinctrl-0 = <&qspi_pins_default>;
	pinctrl-1 = <&qspi_pins_sleep>;

	spi-max-frequency = <48000000>;
	m25p80@0 {
		compatible = "mx66l51235l";
		spi-max-frequency = <48000000>;
		reg = <0>;
		spi-cpol;
		spi-cpha;
		spi-tx-bus-width = <1>;
		spi-rx-bus-width = <4>;
		#address-cells = <1>;
		#size-cells = <1>;

		/*
		 * MTD partition table.  The ROM checks the first 512KiB for a
		 * valid file to boot(XIP).
		 */
		partition@0 {
			label = "QSPI.U_BOOT";
			reg = <0x00000000 0x000080000>;
		};
		partition@1 {
			label = "QSPI.U_BOOT.backup";
			reg = <0x00080000 0x00080000>;
		};
		partition@2 {
			label = "QSPI.U-BOOT-SPL_OS";
			reg = <0x00100000 0x00010000>;
		};
		partition@3 {
			label = "QSPI.U_BOOT_ENV";
			reg = <0x00110000 0x00010000>;
		};
		partition@4 {
			label = "QSPI.U-BOOT-ENV.backup";
			reg = <0x00120000 0x00010000>;
		};
		partition@5 {
			label = "QSPI.KERNEL";
			reg = <0x00130000 0x0800000>;
		};
		partition@6 {
			label = "QSPI.FILESYSTEM";
			reg = <0x00930000 0x36D0000>;
		};
	};
};

&mac_sw {
	pinctrl-names = "default", "sleep";
	pinctrl-0 = <&cpsw_default>;
	pinctrl-1 = <&cpsw_sleep>;
	status = "okay";
};

&davinci_mdio_sw {
	pinctrl-names = "default", "sleep";
	pinctrl-0 = <&davinci_mdio_default>;
	pinctrl-1 = <&davinci_mdio_sleep>;
};

&cpsw_port1 {
	phy-mode = "rgmii";
	ti,dual-emac-pvid = <1>;
	fixed-link {
		speed = <1000>;
		full-duplex;
	};      
};

&cpsw_port2 {
	status = "disabled";
};

&rtc {
	clocks = <&clk_32k_rtc>, <&clk_32768_ck>;
	clock-names = "ext-clk", "int-clk";
	status = "okay";
};

&wdt {
	status = "okay";
};

&cpu {
	cpu0-supply = <&dcdc2>;
};

&cpu0_opp_table {
	/*
	 * Supply voltage supervisor on board will not allow opp50 so
	 * disable it and set opp100 as suspend OPP.
	 */
	opp50-300000000 {
		status = "disabled";
	};

	opp100-600000000 {
		opp-suspend;
	};
};

&pruss1_mdio {
	pinctrl-0 = <&pruss1_mdio_default>;
	pinctrl-names = "default";
	status = "okay";

	reset-gpios = <&gpio4 20 GPIO_ACTIVE_LOW>;
	reset-delay-us = <2>;	/* PHY datasheet states 1uS min */

	pruss1_eth0_phy: ethernet-phy@0 {
		reg = <1>;
	};

	pruss1_eth1_phy: ethernet-phy@1 {
		reg = <3>;
	};
};
